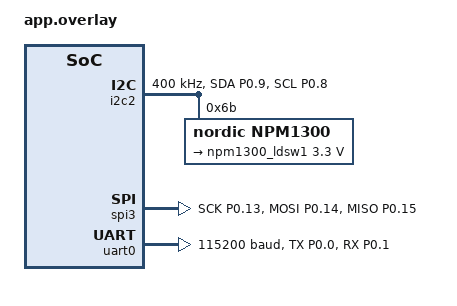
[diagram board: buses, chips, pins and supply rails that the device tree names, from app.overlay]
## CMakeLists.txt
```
# Require a minimum CMake version (Standard for NCS)
cmake_minimum_required(VERSION 3.20.0)

# Find the Zephyr package. This is the magic line that loads the whole RTOS.
find_package(Zephyr REQUIRED HINTS $ENV{ZEPHYR_BASE})

# Name your specific project
project(power)

target_sources(app PRIVATE src/main.c)
```

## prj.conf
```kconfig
# ==========================================
# CORE SYSTEM & LOGGING
# ==========================================
CONFIG_GPIO=y
CONFIG_LOG=y
CONFIG_LOG_CMDS=y
CONFIG_SHELL=y
CONFIG_MAIN_STACK_SIZE=2048

# Enable floating point numbers for Sensor outputs
CONFIG_CBPRINTF_FP_SUPPORT=y
CONFIG_REQUIRES_FLOAT_PRINTF=y

# ==========================================
# I2C AND HARDWARE DEBUGGING
# ==========================================
CONFIG_I2C=y
# Enables the live terminal command: "i2c scan"
CONFIG_I2C_SHELL=y 

# ==========================================
# POWER & PMIC (nPM1300)
# ==========================================
CONFIG_REGULATOR=y
CONFIG_MFD_NPM13XX=y
CONFIG_REGULATOR_NPM13XX=y
CONFIG_NPM13XX_CHARGER=y

# Fuel Gauge (Optional but recommended if using a battery)
CONFIG_NRF_FUEL_GAUGE=y
CONFIG_NRF_FUEL_GAUGE_VARIANT_SECONDARY_CELL=y

# ==========================================
# SPI & FLASH CONTROLS
# ==========================================
CONFIG_SPI=y
# Keep auto-flash off while you do raw hardware testing
CONFIG_FLASH=n 

# ==========================================
# SENSORS
# ==========================================
CONFIG_SENSOR=y

# ==========================================
# QUARANTINE INTERFERING SYSTEMS
# ==========================================
CONFIG_WIFI=n
CONFIG_NETWORKING=n
```

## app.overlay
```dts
#include <zephyr/dt-bindings/regulator/npm13xx.h>

&pinctrl {
    /* --- UART0 --- */
    uart0_default: uart0_default {
        group1 {
            psels = <NRF_PSEL(UART_TX, 0, 0)>,
                    <NRF_PSEL(UART_RX, 0, 1)>;
        };
    };
    uart0_sleep: uart0_sleep {
        group1 {
            psels = <NRF_PSEL(UART_TX, 0, 0)>,
                    <NRF_PSEL(UART_RX, 0, 1)>;
            low-power-enable;
        };
    };

    /* --- I2C2 --- */
    i2c2_default: i2c2_default {
        group1 {
            psels = <NRF_PSEL(TWIM_SDA, 0, 9)>,
                    <NRF_PSEL(TWIM_SCL, 0, 8)>;
        };
    };
    i2c2_sleep: i2c2_sleep {
        group1 {
            psels = <NRF_PSEL(TWIM_SDA, 0, 9)>,
                    <NRF_PSEL(TWIM_SCL, 0, 8)>;
            low-power-enable;
        };
    };

    /* --- SPI3 --- */
    spi3_default: spi3_default {
        group1 {
            psels = <NRF_PSEL(SPIM_SCK, 0, 13)>,
                    <NRF_PSEL(SPIM_MOSI, 0, 14)>,
                    <NRF_PSEL(SPIM_MISO, 0, 15)>;
        };
    };
    spi3_sleep: spi3_sleep {
        group1 {
            psels = <NRF_PSEL(SPIM_SCK, 0, 13)>,
                    <NRF_PSEL(SPIM_MOSI, 0, 14)>,
                    <NRF_PSEL(SPIM_MISO, 0, 15)>;
            low-power-enable;
        };
    };
};

&i2c2 {
    status = "okay";
    pinctrl-0 = <&i2c2_default>;
    pinctrl-1 = <&i2c2_sleep>;
    pinctrl-names = "default", "sleep";
    clock-frequency = <I2C_BITRATE_FAST>;

    /* Allocate RAM buffer for the BMI270 8KB config bursts */
    zephyr,concat-buf-size = <2048>;
    zephyr,flash-buf-max-size = <2048>;

    /* =========================================
     * nPM1300 PMIC (Parent Node)
     * ========================================= */
    npm1300: pmic@6b {
        compatible = "nordic,npm1300";
        reg = <0x6b>;
        status = "okay";

        /* Sub-node: Regulators Container */
        npm1300_regulators: regulators {
            compatible = "nordic,npm1300-regulator";
            status = "okay";
        };

        /* Sub-node: Charger (MUST be inside pmic@6b) */
        npm1300_charger: charger {
            compatible = "nordic,npm1300-charger";
            status = "okay";
            vbus-limit-microamp = <500000>;
            term-microvolt = <4200000>;
            current-microamp = <400000>;
            dischg-limit-microamp = <1000000>;
            thermistor-ohms = <10000>;
            thermistor-beta = <3380>;
        };
    };

};

&spi3 {
    status = "okay";
    pinctrl-0 = <&spi3_default>;
    pinctrl-1 = <&spi3_sleep>;
    pinctrl-names = "default", "sleep";
};

/* Enable UART0 */
&uart0 {
    status = "okay";
    pinctrl-0 = <&uart0_default>;
    pinctrl-1 = <&uart0_sleep>;
    pinctrl-names = "default", "sleep";
    current-speed = <115200>;
};

/* =========================================
 * PMIC OVERRIDES (Safe to append here)
 * ========================================= */
&npm1300_regulators {
    npm1300_ldsw1: LDO1 {
        status = "okay";
        regulator-min-microvolt = <3300000>;
        regulator-max-microvolt = <3300000>;
        regulator-initial-mode = <NPM13XX_LDSW_MODE_LDSW>;

        /* FORCE Discharge resistor on when disabled! */
        active-discharge;

        /* Ensure Zephyr doesn't secretly turn it on during boot */
        /delete-property/ regulator-boot-on;
        /delete-property/ regulator-always-on;
    };
};
```

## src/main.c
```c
#include <zephyr/kernel.h>
#include <zephyr/device.h>
#include <zephyr/drivers/regulator.h>
#include <zephyr/logging/log.h>

LOG_MODULE_REGISTER(pmic_test, LOG_LEVEL_INF);

/* Change this to BUCK1 or BUCK2 if you are using a buck instead of LDSW1 */
const struct device *wifi_en_reg = DEVICE_DT_GET(DT_NODELABEL(npm1300_ldsw1));

int main(void)
{
    int ret;
    int disable_attempts = 0;

    /* Give PMIC time to fully boot over I2C */
    k_msleep(1000); 

    LOG_INF("=== Starting nPM1300 Regulator Control Test ===");

    if (!device_is_ready(wifi_en_reg)) {
        LOG_ERR("Regulator device not ready! Check I2C lines and devicetree.");
        return -1;
    }

    /* =========================================
     * STRATEGY 1: DEFEAT REFERENCE COUNTING
     * ========================================= */
    LOG_INF("Phase 1: Draining Zephyr Regulator Reference Counter...");
    
    while (1) {
        ret = regulator_disable(wifi_en_reg);
        disable_attempts++;
        
        if (ret == 0) {
            LOG_WRN("Counter drained by 1. It was secretly enabled! (Attempt %d)", disable_attempts);
        } else {
            LOG_INF("Regulator fully disabled in software. Reached bottom of ref counter. (Attempts: %d)", disable_attempts);
            break;
        }

        /* Failsafe to prevent infinite loops if driver is broken */
        if (disable_attempts > 10) {
            LOG_ERR("Disable loop failed! Regulator driver refusing to shut down.");
            break;
        }
    }

    LOG_INF("--> PROBE NOW: Regulator should be OFF (0V). Waiting 30 seconds...");
    k_sleep(K_SECONDS(30));


    /* =========================================
     * STRATEGY 2: PERIODIC TOGGLE FOR PROBING
     * ========================================= */
    LOG_INF("Phase 2: Beginning 30-second toggle cycle.");
    
    while (1) {
        /* Turn ON */
        LOG_INF(">>> ENABLING Regulator (3.3V expected) <<<");
        ret = regulator_enable(wifi_en_reg);
        if (ret) {
            LOG_ERR("Failed to enable: %d", ret);
        }
        
        /* Wait 30 seconds for you to probe */
        k_sleep(K_SECONDS(30));

        /* Turn OFF */
        LOG_INF(">>> DISABLING Regulator (0V expected - discharging) <<<");
        ret = regulator_disable(wifi_en_reg);
        if (ret) {
            LOG_ERR("Failed to disable: %d", ret);
        }
        
        /* Wait 30 seconds for you to probe */
        k_sleep(K_SECONDS(30));
    }

    return 0;
}
```
